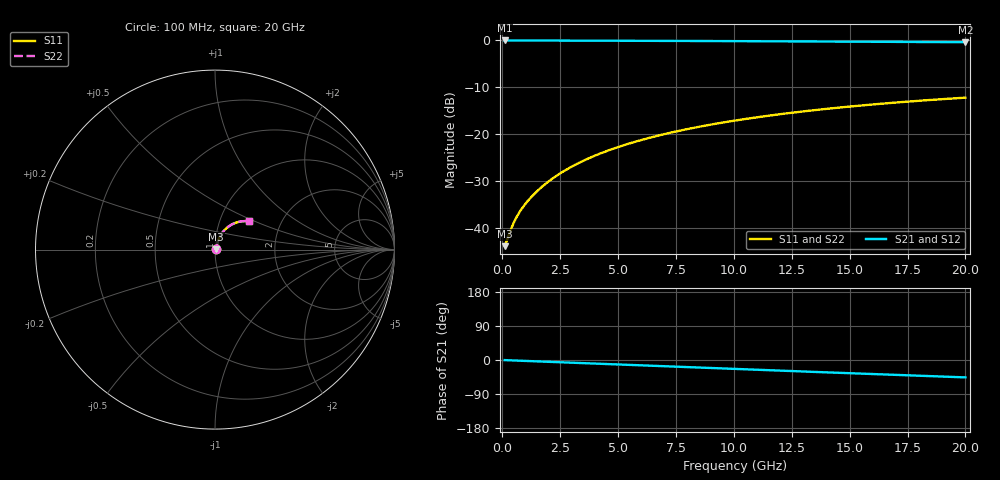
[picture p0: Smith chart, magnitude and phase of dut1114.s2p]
! Touchstone file exported from HFSS 2026.1.0
!  File:  C:/ffzhzh/LocalFiles/Ansys_Project_Files/temp_train_TMRDL_1114_1783161496_55132.aedt
!  Generated:  06:39:29 PM Jul  4, 2026
!  Design:  TMRDL
!  Project:  temp_train_TMRDL_1114_1783161496_55132
! Variables:
!  h_bsmrdl = 2um
!  h_ox = 20um
!  h_rdl = 5um
!  h_sub = 80um
!  h_tmrdl = 2.23um
!  h_tsv = 80um
!  h_via = 3um
!  l_bsmrdl = 300um
!  l_sub = 1170.85um
!  l_tmrdl = 770.85um
!  m_sub = 200um
!  pitch = 29.99um
!  r_tsv = 6um
!  s_tmrdl = 10um
!  w_bsmrdl = 18um
!  w_sub = 500um
!  w_tmrdl = 20.78um
!  x_tsv_center1 = 781.24um
!  x_tsv_center2 = 1099.24um
!  x_tsv_center3 = 1890.87um
!  x_tsv_center4 = 2208.87um
!  x_tsv_center5 = 3000.5um
!  x_tsv_center6 = 3318.5um
# GHz S MA R 50.000000
! Terminal data exported
! Port[1] = TM_RDL1_1_T1
! Port[2] = TM_RDL1_1_T2
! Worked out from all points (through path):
!   200 points, 100 MHz to 20 GHz, reference 50 ohm
!   highest |S21| = -0.05 dB at 100 MHz (marker M1); lowest = -0.4 dB at 20 GHz (marker M2)
!   group delay of S21, straight-line fit = 6.37 ps
!   lowest |S11| = -43.8 dB at 100 MHz (marker M3), VSWR 1.01, Z = 50.6 + j0.195 ohm
!   |S11| at or under -10 dB: start of sweep to end of sweep
!   |S22| runs from -43.8 to -12.2 dB; largest |S21 - S12| = 2.7e-15
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0.1  0.00643 17.4  0.9939 -0.3  0.9939 -0.3  0.00643 17.4
! Gamma 0 0 0 0
! Port Impedance 50 0 50 0
0.2  0.00741 30.8  0.9937 -0.5  0.9937 -0.5  0.00741 30.8
0.4  0.01009 45.5  0.993 -1.0  0.993 -1.0  0.01009 45.5
0.5  0.0115 49.5  0.9927 -1.3  0.9927 -1.3  0.0115 49.5
0.6  0.01288 52.5  0.9924 -1.5  0.9924 -1.5  0.01288 52.5
0.7  0.01423 54.8  0.9921 -1.8  0.9921 -1.8  0.01423 54.8
0.9  0.01686 58.5  0.9917 -2.2  0.9917 -2.2  0.01686 58.5
1.2  0.02078 62.4  0.9912 -2.9  0.9912 -2.9  0.02078 62.4
1.7  0.02739 66.6  0.9906 -4.1  0.9906 -4.1  0.02739 66.6
2.2  0.03416 68.9  0.9902 -5.3  0.9902 -5.3  0.03416 68.9
2.8  0.04241 70.3  0.9896 -6.7  0.9896 -6.7  0.04241 70.3
3.5  0.05213 70.8  0.9889 -8.4  0.9889 -8.4  0.05213 70.8
4.2  0.06186 70.7  0.9881 -10.0  0.9881 -10.0  0.06186 70.7
5  0.07293 70.0  0.987 -11.9  0.987 -11.9  0.07294 70.0
5.9  0.08528 68.8  0.9857 -14.0  0.9857 -14.0  0.08528 68.8
6.8  0.09746 67.4  0.9841 -16.1  0.9841 -16.1  0.09746 67.4
8.3  0.1173 64.6  0.9813 -19.6  0.9813 -19.6  0.1173 64.6
10.1  0.1402 61.1  0.9773 -23.8  0.9773 -23.8  0.1402 61.0
11.7  0.1597 57.8  0.9735 -27.4  0.9735 -27.4  0.1597 57.7
13.4  0.1793 54.2  0.9692 -31.3  0.9692 -31.3  0.1793 54.1
16.7  0.2142 47.2  0.9606 -38.7  0.9606 -38.7  0.2143 47.1
20  0.2447 40.2  0.9521 -45.9  0.9521 -45.9  0.2447 40.2
